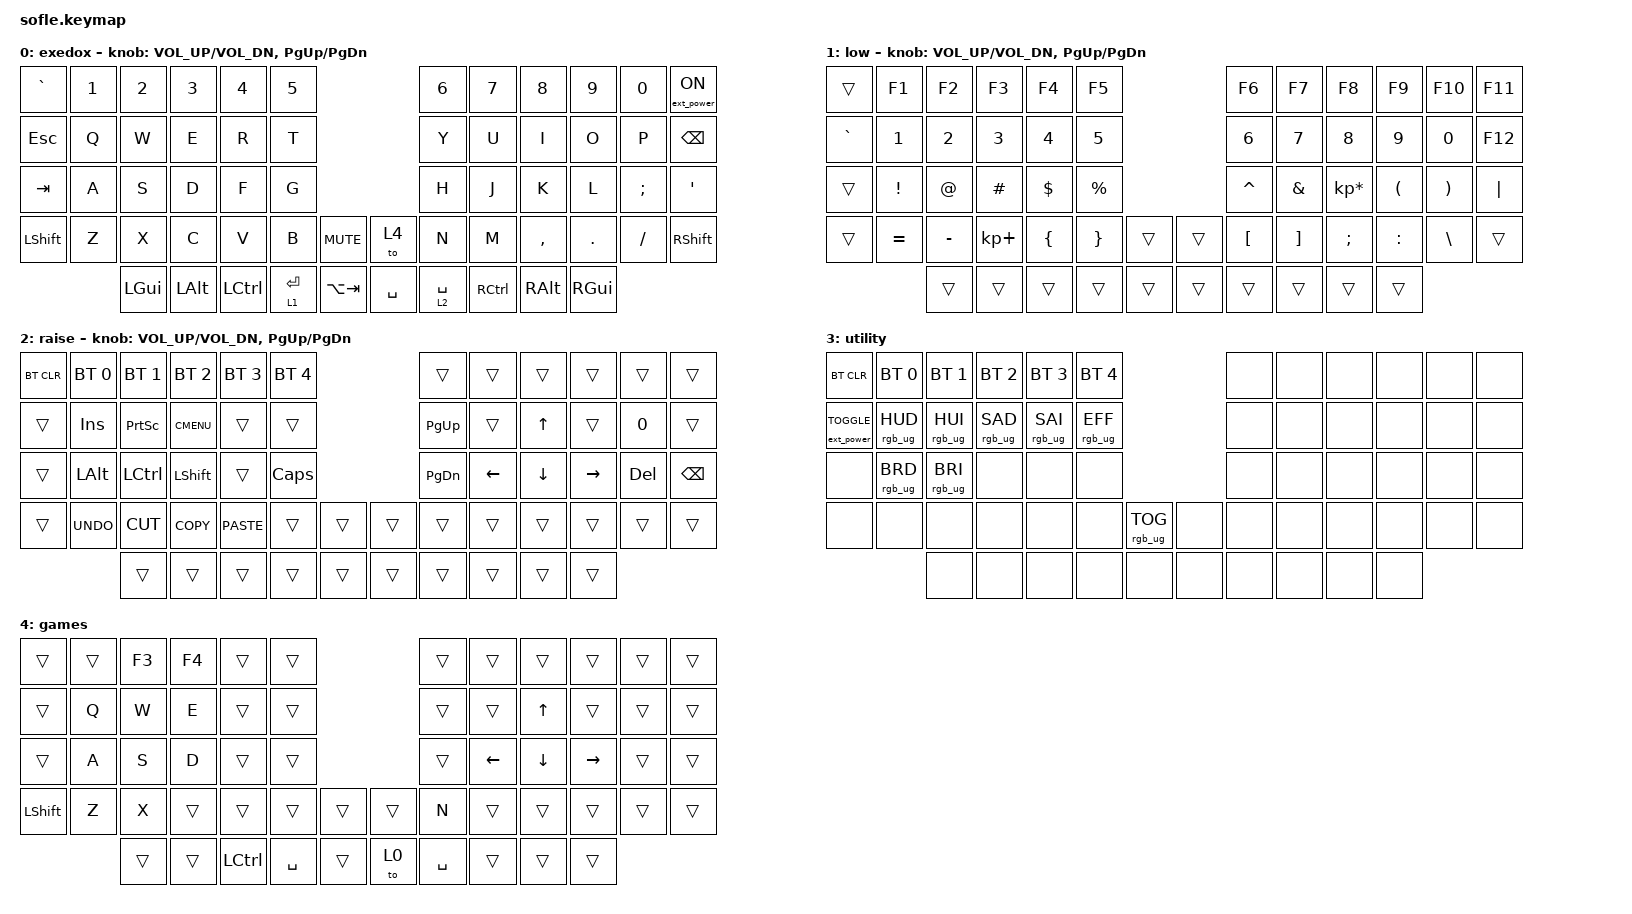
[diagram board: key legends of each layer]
/*
 * Copyright (c) 2020 The ZMK Contributors
 *
 * SPDX-License-Identifier: MIT
 */

#include <behaviors.dtsi>
#include <dt-bindings/zmk/bt.h>
#include <dt-bindings/zmk/ext_power.h>
#include <dt-bindings/zmk/keys.h>
#include <dt-bindings/zmk/rgb.h>

#define BASE 0
#define LOWER 1
#define RAISE 2
#define ADJUST 3

/ {
    // Activate ADJUST layer by pressing raise and lower

    conditional_layers {
        compatible = "zmk,conditional-layers";

        adjust_layer {
            if-layers = <LOWER RAISE>;
            then-layer = <ADJUST>;
        };
    };

    combos {
        compatible = "zmk,combos";

        copy {
            bindings = <&kp LC(C)>;
            key-positions = <16 17>;
        };

        paste {
            bindings = <&kp LC(V)>;
            key-positions = <18 19>;
        };

        pscreen {
            bindings = <&kp LA(PRINTSCREEN)>;
            key-positions = <28 29>;
        };

        delete {
            bindings = <&kp DELETE>;
            key-positions = <19 20>;
        };

        pass {
            bindings = <&kp LC(LS(L))>;
            key-positions = <40 41>;
        };

        cut {
            bindings = <&kp LC(X)>;
            key-positions = <16 15>;
        };
    };

    macros {
    };

    keymap {
        compatible = "zmk,keymap";

        default_layer {
            // ------------------------------------------------------------------------------------------------------------
            // |  `    |  1  |  2  |  3   |  4   |  5   |                   |  6   |  7    |  8    |  9   |   0   |       |
            // |  ESC  |  Q  |  W  |  E   |  R   |  T   |                   |  Y   |  U    |  I    |  O   |   P   | BKSPC |
            // |  TAB  |  A  |  S  |  D   |  F   |  G   |                   |  H   |  J    |  K    |  L   |   ;   |   '   |
            // | SHIFT |  Z  |  X  |  C   |  V   |  B   |  MUTE  |  |       |  N   |  M    |  ,    |  .   |   /   | SHIFT |
            //               | GUI | ALT  | CTRL | LOWER|  ENTER |  | SPACE | RAISE| CTRL  | ALT   | GUI  |

            bindings = <
&kp GRAVE  &kp N1    &kp N2    &kp N3     &kp N4       &kp N5                               &kp N6     &kp N7     &kp N8    &kp N9    &kp N0  &ext_power EP_ON
  &kp ESC   &kp Q     &kp W     &kp E      &kp R        &kp T                                &kp Y      &kp U      &kp I     &kp O     &kp P          &kp BSPC
  &kp TAB   &kp A     &kp S     &kp D      &kp F        &kp G                                &kp H      &kp J      &kp K     &kp L  &kp SEMI           &kp SQT
&kp LSHFT   &kp Z     &kp X     &kp C      &kp V        &kp B   &kp C_MUTE      &to 4        &kp N      &kp M  &kp COMMA   &kp DOT  &kp FSLH         &kp RSHFT
                   &kp LGUI  &kp LALT  &kp LCTRL  &lt 1 ENTER  &kp LA(TAB)  &kp SPACE  &lt 2 SPACE  &kp RCTRL   &kp RALT  &kp RGUI
            >;

            sensor-bindings = <&inc_dec_kp C_VOL_UP C_VOL_DN &inc_dec_kp PG_UP PG_DN>;
            label = "exedox";
        };

        lower_layer {
            // TODO: Some binds are waiting for shifted keycode support.
            // ------------------------------------------------------------------------------------------------------------
            // |       |  F1 |  F2 |  F3  |  F4  |  F5  |                   |  F6  |  F7   |  F8   |  F9  |  F10  |  F11  |
            // | `     |   1 |   2 |   3  |   4  |   5  |                   |   6  |   7   |   8   |   9  |    0  |  F12  |
            // |       |  !  |  @  |  #   |  $   |  %   |                   |  ^   |  &    |  *    |  (   |   )   |   |   |
            // |       |  =  |  -  |  +   |  {   |  }   |        |  |       |  [   |  ]    |  ;    |  :   |   \   |       |
            //               |     |      |      |      |        |  |       |      |       |       |      |

            bindings = <
   &trans     &kp F1     &kp F2       &kp F3    &kp F4     &kp F5                     &kp F6    &kp F7           &kp F8     &kp F9   &kp F10   &kp F11
&kp GRAVE     &kp N1     &kp N2       &kp N3    &kp N4     &kp N5                     &kp N6    &kp N7           &kp N8     &kp N9    &kp N0   &kp F12
   &trans   &kp EXCL     &kp AT     &kp HASH  &kp DLLR  &kp PRCNT                  &kp CARET  &kp AMPS  &kp KP_MULTIPLY   &kp LPAR  &kp RPAR  &kp PIPE
   &trans  &kp EQUAL  &kp MINUS  &kp KP_PLUS  &kp LBRC   &kp RBRC  &trans  &trans   &kp LBKT  &kp RBKT         &kp SEMI  &kp COLON  &kp BSLH    &trans
                         &trans       &trans    &trans     &trans  &trans  &trans     &trans    &trans           &trans     &trans
            >;

            sensor-bindings = <&inc_dec_kp C_VOL_UP C_VOL_DN &inc_dec_kp PG_UP PG_DN>;
            label = "low";
        };

        raise_layer {
            // ------------------------------------------------------------------------------------------------------------
            // |BTCLR| BT1  | BT2  |  BT3  |  BT4  |  BT5 |                |      |      |       |      |       |       |
            // |     | INS  | PSCR | GUI   |       |      |                | PGUP |      |   ^   |      |       |       |
            // |     | ALT  | CTRL | SHIFT |       | CAPS |                | PGDN |   <- |   v   |  ->  |  DEL  | BKSPC |
            // |     | UNDO | CUT  | COPY  | PASTE |      |      |  |      |      |      |       |      |       |       |
            //              |      |       |       |      |      |  |      |      |      |       |      |

            bindings = <
&bt BT_CLR  &bt BT_SEL 0  &bt BT_SEL 1  &bt BT_SEL 2  &bt BT_SEL 3  &bt BT_SEL 4                     &trans    &trans    &trans     &trans   &trans    &trans
    &trans       &kp INS     &kp PSCRN   &kp K_CMENU        &trans        &trans                  &kp PG_UP    &trans    &kp UP     &trans   &kp N0    &trans
    &trans      &kp LALT     &kp LCTRL     &kp LSHFT        &trans      &kp CLCK                  &kp PG_DN  &kp LEFT  &kp DOWN  &kp RIGHT  &kp DEL  &kp BSPC
    &trans    &kp K_UNDO     &kp K_CUT    &kp K_COPY   &kp K_PASTE        &trans  &trans  &trans     &trans    &trans    &trans     &trans   &trans    &trans
                                &trans        &trans        &trans        &trans  &trans  &trans     &trans    &trans    &trans     &trans
            >;

            sensor-bindings = <&inc_dec_kp C_VOL_UP C_VOL_DN &inc_dec_kp PG_UP PG_DN>;
            label = "raise";
        };

        // ------------------------------------------------------------------------------------------------------------
        // |BTCLR | BT1   | BT2   |  BT3  |  BT4  |  BT5  |                |      |      |       |      |       |       |
        // |EXTPWR|RGB_HUD|RGB_HUI|RGB_SAD|RGB_SAI|RGB_EFF|                |      |      |       |      |       |       |
        // |      |RGB_BRD|RGB_BRI|       |       |       |                |      |      |       |      |       |       |
        // |      |       |       |       |       |       |RGB_TOG| |      |      |      |       |      |       |       |
        //                |       |       |       |       |       | |      |      |      |       |      |

        Adjust_layer {
            bindings = <
                     &bt BT_CLR     &bt BT_SEL 0     &bt BT_SEL 1     &bt BT_SEL 2     &bt BT_SEL 3     &bt BT_SEL 4                          &none  &none  &none  &none  &none  &none
&ext_power EXT_POWER_TOGGLE_CMD  &rgb_ug RGB_HUD  &rgb_ug RGB_HUI  &rgb_ug RGB_SAD  &rgb_ug RGB_SAI  &rgb_ug RGB_EFF                          &none  &none  &none  &none  &none  &none
                          &none  &rgb_ug RGB_BRD  &rgb_ug RGB_BRI            &none            &none            &none                          &none  &none  &none  &none  &none  &none
                          &none            &none            &none            &none            &none            &none  &rgb_ug RGB_TOG  &none  &none  &none  &none  &none  &none  &none
                                                            &none            &none            &none            &none            &none  &none  &none  &none  &none  &none
            >;

            label = "utility";
        };

        games {
            bindings = <
        &trans  &trans  &kp F3  &kp F4            &trans     &trans                     &trans    &trans        &trans           &trans  &trans  &trans
        &trans   &kp Q   &kp W   &kp E            &trans     &trans                     &trans    &trans  &kp UP_ARROW           &trans  &trans  &trans
        &trans   &kp A   &kp S   &kp D            &trans     &trans                     &trans  &kp LEFT      &kp DOWN  &kp RIGHT_ARROW  &trans  &trans
&kp LEFT_SHIFT   &kp Z   &kp X  &trans            &trans     &trans  &trans  &trans      &kp N    &trans        &trans           &trans  &trans  &trans
                        &trans  &trans  &kp LEFT_CONTROL  &kp SPACE  &trans   &to 0  &kp SPACE    &trans        &trans           &trans
            >;

            label = "games";
        };
    };
};
